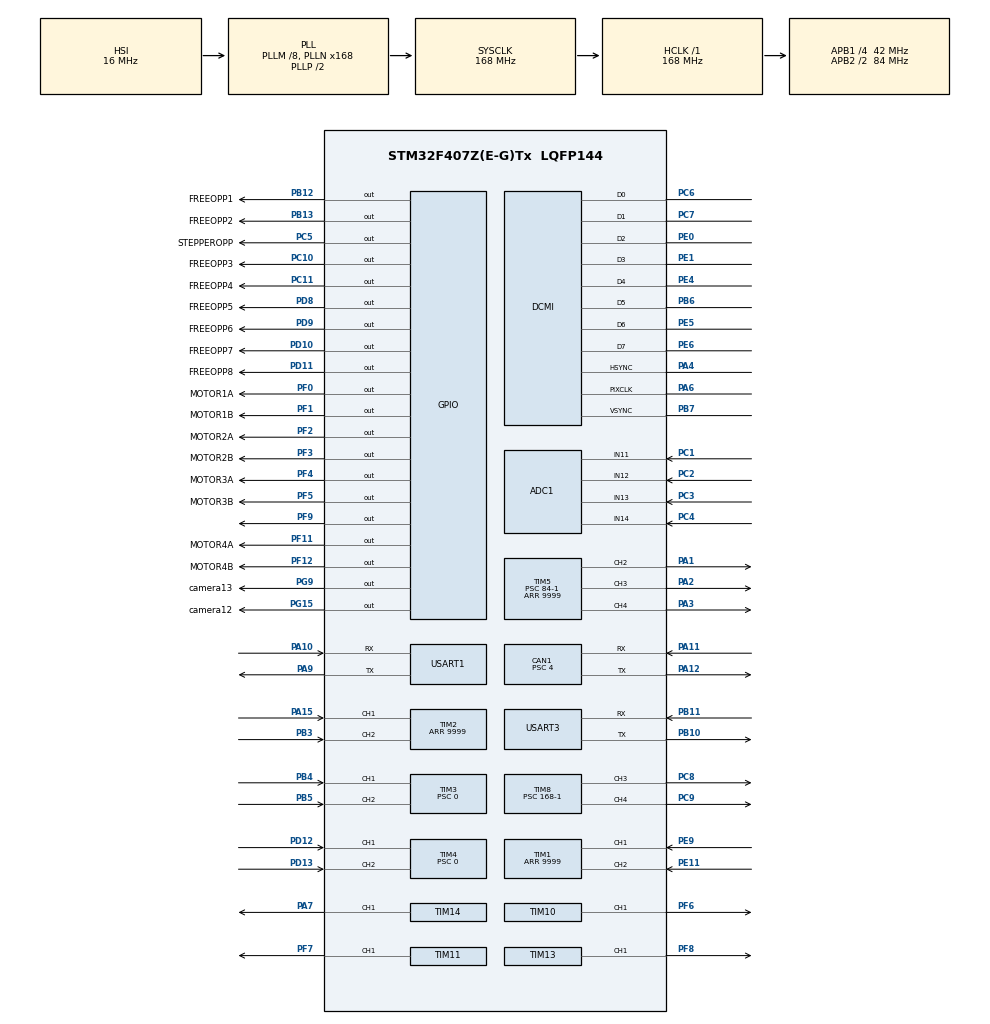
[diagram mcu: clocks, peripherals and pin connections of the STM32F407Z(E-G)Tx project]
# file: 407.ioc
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ADC1.Channel-7\#ChannelRegularConversion=ADC_CHANNEL_11
ADC1.NbrOfConversionFlag=1
ADC1.Rank-7\#ChannelRegularConversion=1
ADC1.SamplingTime-7\#ChannelRegularConversion=ADC_SAMPLETIME_3CYCLES
ADC1.master=1
CAN1.BS1=CAN_BS1_12TQ
CAN1.BS2=CAN_BS2_8TQ
CAN1.CalculateBaudRate=500000
CAN1.CalculateTimeBit=2000
CAN1.CalculateTimeQuantum=95.23809523809524
CAN1.Prescaler=4
DCMI.PCKPolarity=DCMI_PCKPOLARITY_RISING
Dma.DCMI.0.Direction=DMA_PERIPH_TO_MEMORY
Dma.DCMI.0.FIFOMode=DMA_FIFOMODE_ENABLE
Dma.DCMI.0.FIFOThreshold=DMA_FIFO_THRESHOLD_FULL
Dma.DCMI.0.Instance=DMA2_Stream1
Dma.DCMI.0.MemBurst=DMA_MBURST_SINGLE
Dma.DCMI.0.MemDataAlignment=DMA_MDATAALIGN_WORD
Dma.DCMI.0.MemInc=DMA_MINC_ENABLE
Dma.DCMI.0.Mode=DMA_CIRCULAR
Dma.DCMI.0.PeriphBurst=DMA_PBURST_SINGLE
Dma.DCMI.0.PeriphDataAlignment=DMA_PDATAALIGN_WORD
Dma.DCMI.0.PeriphInc=DMA_PINC_DISABLE
Dma.DCMI.0.Priority=DMA_PRIORITY_VERY_HIGH
Dma.Request0=DCMI
Mcu.Family=STM32F4
Mcu.Name=STM32F407Z(E-G)Tx
Mcu.Package=LQFP144
NVIC.DCMI_IRQn=true\:0\:0\:false\:false\:true\:true\:true\:true
NVIC.DMA2_Stream1_IRQn=true\:0\:0\:false\:false\:true\:false\:true\:true
NVIC.PriorityGroup=NVIC_PRIORITYGROUP_4
NVIC.TIM3_IRQn=true\:0\:0\:false\:false\:true\:true\:true\:true
NVIC.TIM4_IRQn=true\:0\:0\:false\:false\:true\:true\:true\:true
NVIC.TIM6_DAC_IRQn=true\:0\:0\:false\:false\:true\:true\:true\:true
NVIC.TIM7_IRQn=true\:0\:0\:false\:false\:true\:true\:true\:true
NVIC.TIM8_BRK_TIM12_IRQn=true\:15\:0\:false\:false\:true\:false\:true\:true
NVIC.TimeBase=TIM8_BRK_TIM12_IRQn
NVIC.TimeBaseIP=TIM12
NVIC.USART1_IRQn=true\:0\:0\:false\:false\:true\:true\:true\:true
PA1.Signal=S_TIM5_CH2
PA10.Mode=Asynchronous
PA10.Signal=USART1_RX
PA11.Mode=CAN_Activate
PA11.Signal=CAN1_RX
PA12.Mode=CAN_Activate
PA12.Signal=CAN1_TX
PA13.Mode=Serial_Wire
PA13.Signal=SYS_JTMS-SWDIO
PA14.Mode=Serial_Wire
PA14.Signal=SYS_JTCK-SWCLK
PA15.Signal=S_TIM2_CH1_ETR
PA2.Signal=S_TIM5_CH3
PA3.Signal=S_TIM5_CH4
PA4.Mode=Slave_8_bits_External_Synchro
PA4.Signal=DCMI_HSYNC
PA6.Mode=Slave_8_bits_External_Synchro
PA6.Signal=DCMI_PIXCLK
PA7.Signal=S_TIM14_CH1
PA9.Mode=Asynchronous
PA9.Signal=USART1_TX
PB10.Mode=Asynchronous
PB10.Signal=USART3_TX
PB11.Mode=Asynchronous
PB11.Signal=USART3_RX
PB12.GPIO_Label=FREEOPP1
PB12.Signal=GPIO_Output
PB13.GPIO_Label=FREEOPP2
PB13.Signal=GPIO_Output
PB3.Signal=S_TIM2_CH2
PB4.Signal=S_TIM3_CH1
PB5.Signal=S_TIM3_CH2
PB6.Mode=Slave_8_bits_External_Synchro
PB6.Signal=DCMI_D5
PB7.Mode=Slave_8_bits_External_Synchro
PB7.Signal=DCMI_VSYNC
PC1.Signal=ADCx_IN11
PC10.GPIO_Label=FREEOPP3
PC10.Signal=GPIO_Output
PC11.GPIO_Label=FREEOPP4
PC11.Signal=GPIO_Output
PC2.Signal=ADCx_IN12
PC3.Signal=ADCx_IN13
PC4.Signal=ADCx_IN14
PC5.GPIO_Label=STEPPEROPP
PC5.Signal=GPIO_Output
PC6.Mode=Slave_8_bits_External_Synchro
PC6.Signal=DCMI_D0
PC7.Mode=Slave_8_bits_External_Synchro
PC7.Signal=DCMI_D1
PC8.Signal=S_TIM8_CH3
PC9.Signal=S_TIM8_CH4
PD10.GPIO_Label=FREEOPP7
PD10.Signal=GPIO_Output
PD11.GPIO_Label=FREEOPP8
PD11.Signal=GPIO_Output
PD12.Signal=S_TIM4_CH1
PD13.Signal=S_TIM4_CH2
PD8.GPIO_Label=FREEOPP5
PD8.Signal=GPIO_Output
PD9.GPIO_Label=FREEOPP6
PD9.Signal=GPIO_Output
PE0.Mode=Slave_8_bits_External_Synchro
PE0.Signal=DCMI_D2
PE1.Mode=Slave_8_bits_External_Synchro
PE1.Signal=DCMI_D3
PE11.Signal=S_TIM1_CH2
PE4.Mode=Slave_8_bits_External_Synchro
PE4.Signal=DCMI_D4
PE5.Mode=Slave_8_bits_External_Synchro
PE5.Signal=DCMI_D6
PE6.Mode=Slave_8_bits_External_Synchro
PE6.Signal=DCMI_D7
PE9.Signal=S_TIM1_CH1
PF0.GPIO_Label=MOTOR1A
PF0.Signal=GPIO_Output
PF1.GPIO_Label=MOTOR1B
PF1.Signal=GPIO_Output
PF11.GPIO_Label=MOTOR4A
PF11.Signal=GPIO_Output
PF12.GPIO_Label=MOTOR4B
PF12.Signal=GPIO_Output
PF2.GPIO_Label=MOTOR2A
PF2.Signal=GPIO_Output
PF3.GPIO_Label=MOTOR2B
PF3.Signal=GPIO_Output
PF4.GPIO_Label=MOTOR3A
PF4.Signal=GPIO_Output
PF5.GPIO_Label=MOTOR3B
PF5.Signal=GPIO_Output
PF6.Signal=S_TIM10_CH1
PF7.Signal=S_TIM11_CH1
PF8.Signal=S_TIM13_CH1
PF9.Signal=GPIO_Output
PG15.GPIO_Label=camera12
PG15.Signal=GPIO_Output
PG9.GPIO_Label=camera13
PG9.Signal=GPIO_Output
PH0-OSC_IN.Mode=HSE-External-Oscillator
PH0-OSC_IN.Signal=RCC_OSC_IN
PH1-OSC_OUT.Mode=HSE-External-Oscillator
PH1-OSC_OUT.Signal=RCC_OSC_OUT
ProjectManager.HeapSize=0x200
ProjectManager.StackSize=0x400
ProjectManager.TargetToolchain=MDK-ARM V5.32
RCC.48MHZClocksFreq_Value=84000000
RCC.AHBFreq_Value=168000000
RCC.APB1CLKDivider=RCC_HCLK_DIV4
RCC.APB1Freq_Value=42000000
RCC.APB1TimFreq_Value=84000000
RCC.APB2CLKDivider=RCC_HCLK_DIV2
RCC.APB2Freq_Value=84000000
RCC.APB2TimFreq_Value=168000000
RCC.CortexFreq_Value=168000000
RCC.HCLKFreq_Value=168000000
RCC.HSE_VALUE=25000000
RCC.HSI_VALUE=16000000
RCC.LSE_VALUE=32768
RCC.PLLM=8
RCC.PLLN=168
RCC.SYSCLKFreq_VALUE=168000000
RCC.SYSCLKSource=RCC_SYSCLKSOURCE_PLLCLK
RCC.VCOOutputFreq_Value=336000000
SH.ADCx_IN11.0=ADC1_IN11,IN11
SH.ADCx_IN12.0=ADC1_IN12,IN12
SH.ADCx_IN13.0=ADC1_IN13,IN13
SH.ADCx_IN14.0=ADC1_IN14,IN14
SH.S_TIM10_CH1.0=TIM10_CH1,PWM Generation1 CH1
SH.S_TIM11_CH1.0=TIM11_CH1,PWM Generation1 CH1
SH.S_TIM13_CH1.0=TIM13_CH1,PWM Generation1 CH1
SH.S_TIM14_CH1.0=TIM14_CH1,PWM Generation1 CH1
SH.S_TIM1_CH1.0=TIM1_CH1,Encoder_Interface
SH.S_TIM1_CH2.0=TIM1_CH2,Encoder_Interface
SH.S_TIM2_CH1_ETR.0=TIM2_CH1,Encoder_Interface
SH.S_TIM2_CH2.0=TIM2_CH2,Encoder_Interface
SH.S_TIM3_CH1.0=TIM3_CH1,Encoder_Interface
SH.S_TIM3_CH2.0=TIM3_CH2,Encoder_Interface
SH.S_TIM4_CH1.0=TIM4_CH1,Encoder_Interface
SH.S_TIM4_CH2.0=TIM4_CH2,Encoder_Interface
SH.S_TIM5_CH2.0=TIM5_CH2,PWM Generation2 CH2
SH.S_TIM5_CH3.0=TIM5_CH3,PWM Generation3 CH3
SH.S_TIM5_CH4.0=TIM5_CH4,PWM Generation4 CH4
SH.S_TIM8_CH3.0=TIM8_CH3,PWM Generation3 CH3
SH.S_TIM8_CH4.0=TIM8_CH4,PWM Generation4 CH4
TIM1.AutoReloadPreload=TIM_AUTORELOAD_PRELOAD_ENABLE
TIM1.Channel-PWM\ Generation1\ CH1=TIM_CHANNEL_1
TIM1.Period=9999
TIM10.Channel=TIM_CHANNEL_1
TIM11.Channel=TIM_CHANNEL_1
TIM13.Channel=TIM_CHANNEL_1
TIM14.Channel=TIM_CHANNEL_1
TIM2.AutoReloadPreload=TIM_AUTORELOAD_PRELOAD_ENABLE
TIM2.Period=9999
TIM3.AutoReloadPreload=TIM_AUTORELOAD_PRELOAD_ENABLE
TIM3.Period=9999
TIM3.Prescaler=0
TIM4.AutoReloadPreload=TIM_AUTORELOAD_PRELOAD_ENABLE
TIM4.Period=9999
TIM4.Prescaler=0
TIM5.Channel-PWM\ Generation2\ CH2=TIM_CHANNEL_2
TIM5.Channel-PWM\ Generation3\ CH3=TIM_CHANNEL_3
TIM5.Channel-PWM\ Generation4\ CH4=TIM_CHANNEL_4
TIM5.Period=9999
TIM5.Prescaler=84-1
TIM6.Period=10000-1
TIM6.Prescaler=16800-1
TIM7.Period=50000
TIM7.Prescaler=84-1
TIM8.Channel-PWM\ Generation3\ CH3=TIM_CHANNEL_3
TIM8.Channel-PWM\ Generation4\ CH4=TIM_CHANNEL_4
TIM8.Period=9999
TIM8.Prescaler=168-1
USART1.VirtualMode=VM_ASYNC
USART3.VirtualMode=VM_ASYNC
VP_CRC_VS_CRC.Mode=CRC_Activate
VP_IWDG_VS_IWDG.Mode=IWDG_Activate
VP_SYS_VS_tim12.Mode=TIM12
VP_TIM10_VS_ClockSourceINT.Mode=Enable_Timer
VP_TIM11_VS_ClockSourceINT.Mode=Enable_Timer
VP_TIM13_VS_ClockSourceINT.Mode=Enable_Timer
VP_TIM14_VS_ClockSourceINT.Mode=Enable_Timer
VP_TIM6_VS_ClockSourceINT.Mode=Enable_Timer
VP_TIM7_VS_ClockSourceINT.Mode=Enable_Timer
VP_TIM8_VS_ClockSourceINT.Mode=Internal
board=custom

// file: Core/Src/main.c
/* USER CODE BEGIN Header */
/**
  ******************************************************************************
  * @file           : main.c
  * @brief          : Main program body
  ******************************************************************************
  * @attention
  *
  * Copyright (c) 2023 STMicroelectronics.
  * All rights reserved.
  *
  * This software is licensed under terms that can be found in the LICENSE file
  * in the root directory of this software component.
  * If no LICENSE file comes with this software, it is provided AS-IS.
  *
  ******************************************************************************
  */
/* USER CODE END Header */
#include "main.h"
#include "adc.h"
#include "can.h"
#include "crc.h"
#include "dcmi.h"
#include "dma.h"
#include "iwdg.h"
#include "tim.h"
#include "usart.h"
#include "gpio.h"
#include "FreeRTOS.h"
#include "task.h"
#include "list.h"
/* USER CODE BEGIN Includes */
#include <pid.h>
#include <Motor.h>
/* USER CODE END Includes */

/* USER CODE BEGIN PV */
TaskHandle_t xLedTask;
/* USER CODE END PV */

void SystemClock_Config(void);

/* USER CODE BEGIN 0 */
void vLedTask(void * param)
{

	volatile int i=0;
	while (1)
	{
		HAL_GPIO_WritePin(GPIOF,GPIO_PIN_9,GPIO_PIN_RESET);
		HAL_Delay(1000);
		HAL_GPIO_WritePin(GPIOF,GPIO_PIN_9,GPIO_PIN_SET);
		HAL_Delay(1000);
	}
}

/* USER CODE END 0 */

int main(void)
{

  /* MCU Configuration--------------------------------------------------------*/

  /* Reset of all peripherals, Initializes the Flash interface and the Systick. */
  HAL_Init();

  /* Configure the system clock */
  SystemClock_Config();

  /* Initialize all configured peripherals */
  MX_GPIO_Init();
  MX_DMA_Init();
  MX_CRC_Init();
  MX_TIM2_Init();
  MX_TIM3_Init();
  MX_TIM4_Init();
  MX_USART1_UART_Init();
  MX_ADC1_Init();
  MX_CAN1_Init();
  MX_IWDG_Init();
  MX_TIM1_Init();
  MX_TIM5_Init();
  MX_USART3_UART_Init();
  MX_TIM10_Init();
  MX_TIM11_Init();
  MX_TIM13_Init();
  MX_TIM14_Init();
  MX_DCMI_Init();
  MX_TIM8_Init();
  MX_TIM6_Init();
  MX_TIM7_Init();
  /* USER CODE BEGIN 2 */
	Motor_Init();

	xTaskCreate(vLedTask, "Task1", 100 , NULL, 1,&xLedTask);

	vTaskStartScheduler();
  /* USER CODE END 2 */

  /* Infinite loop */
  /* USER CODE BEGIN WHILE */
  while (1)
  {
		printfSpeed();
    /* USER CODE END WHILE */

  }
}

void SystemClock_Config(void)
{
  RCC_OscInitTypeDef RCC_OscInitStruct = {0};
  RCC_ClkInitTypeDef RCC_ClkInitStruct = {0};

  /** Configure the main internal regulator output voltage
  */
  __HAL_RCC_PWR_CLK_ENABLE();
  __HAL_PWR_VOLTAGESCALING_CONFIG(PWR_REGULATOR_VOLTAGE_SCALE1);

  /** Initializes the RCC Oscillators according to the specified parameters
  * in the RCC_OscInitTypeDef structure.
  */
  RCC_OscInitStruct.OscillatorType = RCC_OSCILLATORTYPE_HSI|RCC_OSCILLATORTYPE_LSI;
  RCC_OscInitStruct.HSIState = RCC_HSI_ON;
  RCC_OscInitStruct.HSICalibrationValue = RCC_HSICALIBRATION_DEFAULT;
  RCC_OscInitStruct.LSIState = RCC_LSI_ON;
  RCC_OscInitStruct.PLL.PLLState = RCC_PLL_ON;
  RCC_OscInitStruct.PLL.PLLSource = RCC_PLLSOURCE_HSI;
  RCC_OscInitStruct.PLL.PLLM = 8;
  RCC_OscInitStruct.PLL.PLLN = 168;
  RCC_OscInitStruct.PLL.PLLP = RCC_PLLP_DIV2;
  RCC_OscInitStruct.PLL.PLLQ = 4;
  if (HAL_RCC_OscConfig(&RCC_OscInitStruct) != HAL_OK)
  {
    Error_Handler();
  }

  /** Initializes the CPU, AHB and APB buses clocks
  */
  RCC_ClkInitStruct.ClockType = RCC_CLOCKTYPE_HCLK|RCC_CLOCKTYPE_SYSCLK
                              |RCC_CLOCKTYPE_PCLK1|RCC_CLOCKTYPE_PCLK2;
  RCC_ClkInitStruct.SYSCLKSource = RCC_SYSCLKSOURCE_PLLCLK;
  RCC_ClkInitStruct.AHBCLKDivider = RCC_SYSCLK_DIV1;
  RCC_ClkInitStruct.APB1CLKDivider = RCC_HCLK_DIV4;
  RCC_ClkInitStruct.APB2CLKDivider = RCC_HCLK_DIV2;

  if (HAL_RCC_ClockConfig(&RCC_ClkInitStruct, FLASH_LATENCY_5) != HAL_OK)
  {
    Error_Handler();
  }
}

void HAL_TIM_PeriodElapsedCallback(TIM_HandleTypeDef *htim)
{
  if (htim->Instance == TIM12) {
    HAL_IncTick();
  }
  /* USER CODE BEGIN Callback 1 */
  if (htim->Instance == TIM7)
  {
			applyControlOutput(120);
      SpeedAndAngleUpdate();
  }
  /* USER CODE END Callback 1 */
}

void Error_Handler(void)
{
  __disable_irq();
  while (1)
  {
  }
}
